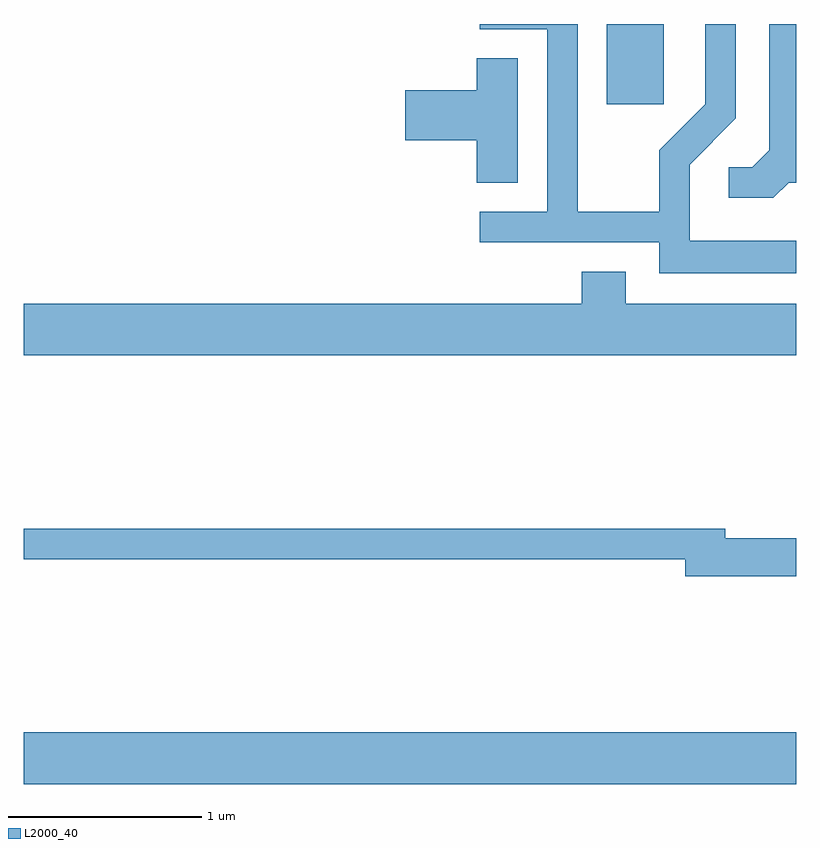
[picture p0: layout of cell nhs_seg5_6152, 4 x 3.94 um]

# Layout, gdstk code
import gdstk
lib = gdstk.Library(unit=1e-6, precision=1e-09)
def R(c, l, rs):  # rectangles x0, y0, x1, y1
    for r in rs: c.add(gdstk.rectangle(r[:2], r[2:], *l))
def P(c, l, *ps):  # polygons
    for p in ps: c.add(gdstk.Polygon(p, *l))
L2000_40 = (2000, 40)

nhs_seg5_6152 = lib.new_cell('nhs_seg5_6152')
R(nhs_seg5_6152, L2000_40, [(367.611,1450.136,371.611,1450.404), (370.631,1453.656,370.924,1454.072)])
P(nhs_seg5_6152, L2000_40, [(371.572,1453.251),(371.611,1453.251),(371.611,1454.072),(371.471,1454.072),(371.471,1453.417),(371.384,1453.329),(371.263,1453.329),(371.263,1453.171),(371.492,1453.171)],
  [(371.611,1452.949),(371.059,1452.949),(371.059,1453.344),(371.299,1453.584),(371.299,1454.072),(371.141,1454.072),(371.141,1453.657),(370.901,1453.417),(370.901,1453.099),(370.479,1453.099),(370.479,1454.072),(369.973,1454.072),(369.973,1454.046),(370.321,1454.046),(370.321,1453.099),(369.973,1453.099),(369.973,1452.941),(370.901,1452.941),(370.901,1452.781),(371.611,1452.781)],
  [(370.169,1453.894),(369.956,1453.894),(369.956,1453.729),(369.586,1453.729),(369.586,1453.471),(369.956,1453.471),(369.956,1453.251),(370.169,1453.251)],
  [(371.611,1452.624),(370.729,1452.624),(370.729,1452.789),(370.501,1452.789),(370.501,1452.624),(367.611,1452.624),(367.611,1452.356),(371.611,1452.356)],
  [(371.611,1451.409),(371.244,1451.409),(371.244,1451.459),(367.611,1451.459),(367.611,1451.301),(371.036,1451.301),(371.036,1451.211),(371.611,1451.211)])

lib.write_gds('nhs_seg5_6152.gds')
